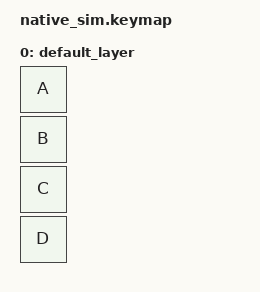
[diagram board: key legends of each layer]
#include "../test.dtsi"
#include <dt-bindings/zmk/keys.h>
#include <dt-bindings/zmk/kscan_mock.h>
#include <zmk_driver_animation/animation.dtsi>
#include <dt-bindings/zmk_driver_animation/animation_control.h>

/*
 * Regression test for the boot-scheduling bug: animation_control_init()
 * used to schedule the boot delayed-work item (which applies persisted
 * custom settings, DESIGN.md #3.5) only `if (config->init_animation !=
 * NULL)` - even though the handler itself has no such restriction on the
 * settings-apply step. A config with no `init-animation` property (a
 * common, reasonable minimal setup - nothing in DESIGN.md/README requires a
 * boot animation) would therefore never get its persisted brightness /
 * animation-selection settings restored at boot.
 *
 * This is tests/settings_apply's keymap with the `init-animation` property
 * removed entirely (init-animation-delay-ms is independent of
 * init-animation and is kept short so the test doesn't need to wait for
 * the default 100ms production delay). Everything else - the seeded
 * persisted value, the assertion log lines - is identical to
 * tests/settings_apply, so a pass here on top of a pass there proves the
 * settings-apply path no longer depends on init-animation being set.
 */

/ {
    mock_led_strip0: mock_led_strip_0 {
        compatible = "zmk,mock-led-strip";
        chain-length = <2>;
    };

    animation: animation {
        compatible = "zmk,animation";
        drivers = <&mock_led_strip0>;
        chain-lengths = <2>;
        pixels = <&pixel 0 0>, <&pixel 1 0>;
    };

    animation_solid0: animation_solid_0 {
        compatible = "zmk,animation-solid";
        pixels = <0 1>;
        colors = <HSL(0, 100, 50)>;
    };

    animation_solid1: animation_solid_1 {
        compatible = "zmk,animation-solid";
        pixels = <0 1>;
        colors = <HSL(120, 100, 50)>;
    };

    animation_control0: animation_control_0 {
        compatible = "zmk,animation-control";
        powered-animations = <&animation_solid0 &animation_solid1>;
        battery-animations = <&animation_solid0 &animation_solid1>;
        behavior-animations = <&animation_solid0>;
        brightness-steps = <5>;
        default-powered-brightness = <2>;
        default-battery-brightness = <2>;
        /* Deliberately no init-animation property (see top-of-file comment). */
        init-animation-delay-ms = <10>;
    };

    chosen {
        zmk,animation = &animation_control0;
        zmk,animation-control = &animation_control0;
    };
};

&kscan {
    events = <
    ZMK_MOCK_PRESS(0,0,50)
    ZMK_MOCK_RELEASE(0,0,50)
    >;
};

/ {
    keymap {
        compatible = "zmk,keymap";

        default_layer {
            bindings = <
            &kp A
            &kp B
            &kp C
            &kp D
            >;
        };
    };
};
